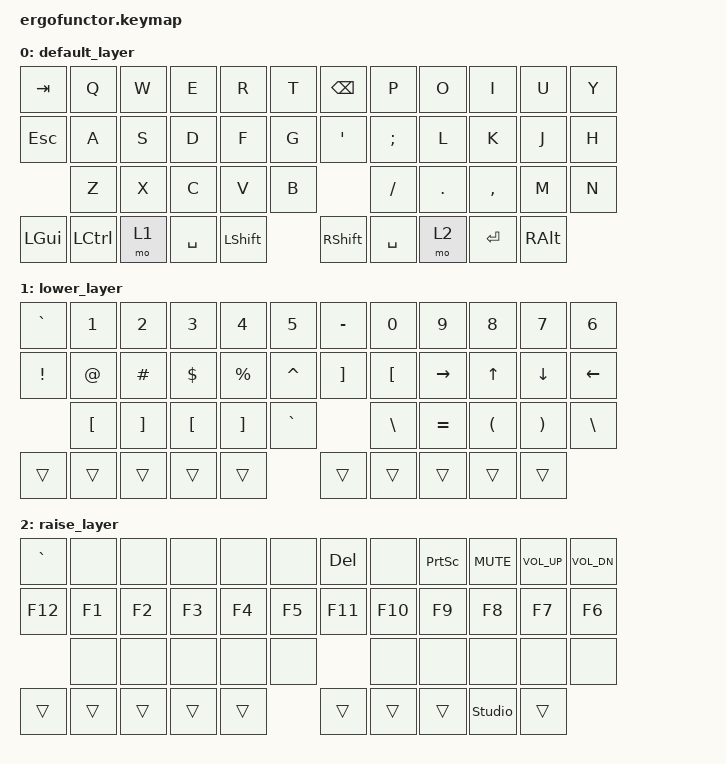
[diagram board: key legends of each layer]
#include <behaviors.dtsi>
#include <dt-bindings/zmk/keys.h>
#include <dt-bindings/zmk/bt.h>

/ {
    keymap {
        compatible = "zmk,keymap";

        default_layer {
            bindings = <
                             // Left: bottom row
                             &kp Z        &kp X       &kp C        &kp V         &kp B
                // Left: home row
                &kp ESC      &kp A        &kp S       &kp D        &kp F         &kp G
                // Left: top row
                &kp TAB      &kp Q       &kp W        &kp E        &kp R         &kp T
                  // Left: thumb cluster
                  &kp LGUI &kp LCTRL &mo 1 &kp SPACE &kp LSHIFT

                                // Right: bottom row 
                                &kp SLASH     &kp DOT       &kp COMMA    &kp M     &kp N
                // Right: home row
                &kp APOSTROPHE  &kp SEMICOLON &kp L         &kp K        &kp J     &kp H
                // Right: top row
                &kp BSPC        &kp P         &kp O         &kp I        &kp U     &kp Y
                  // Right: thumb cluster
                  &kp RSHIFT &kp SPACE &mo 2 &kp RET &kp RALT
            >;
        };

        lower_layer {
            bindings = <
                                 // Left: bottom
                                 &kp LEFT_BRACKET  &kp RIGHT_BRACKET &kp LEFT_BRACKET &kp RIGHT_BRACKET &kp GRAVE
                // Left: home
                &kp EXCL         &kp AT            &kp HASH          &kp DLLR         &kp PRCNT         &kp CARET
                // Left: top
                &kp GRAVE        &kp N1            &kp N2            &kp N3           &kp N4            &kp N5
                  // Left: thumb
                  &trans &trans &trans &trans &trans

                                  // Right: bottom
                                  &kp BACKSLASH    &kp EQUAL       &kp LEFT_PARENTHESIS &kp RIGHT_PARENTHESIS &kp BACKSLASH
                // Right: home
                &kp RIGHT_BRACKET &kp LEFT_BRACKET &kp RIGHT_ARROW &kp UP_ARROW         &kp DOWN_ARROW        &kp LEFT_ARROW
                // Right: top
                &kp MINUS         &kp N0           &kp N9          &kp N8               &kp N7                &kp N6
                  // Right: thumb
                  &trans &trans &trans &trans &trans
            >;
        };

        raise_layer {
            bindings = <
                             // Left: bottom
                             &none        &none       &none        &none         &none
                // Left: home
                &kp F12      &kp F1      &kp F2       &kp F3       &kp F4        &kp F5
                // Left: top
                &kp GRAVE    &none       &none        &none        &none         &none
                  // Left: thumb
                  &trans &trans &trans &trans &trans

                             // Right: bottom
                             &none        &none           &none          &none         &none
                // Right: home
                &kp F11      &kp F10      &kp F9          &kp F8         &kp F7        &kp F6
                // Right: top
                &kp DELETE   &none        &kp PRINTSCREEN &kp C_MUTE     &kp C_VOL_UP  &kp C_VOL_DN
                  // Right: thumb
                  &trans &trans &trans &studio_unlock &trans
            >;
        };
    };
};
